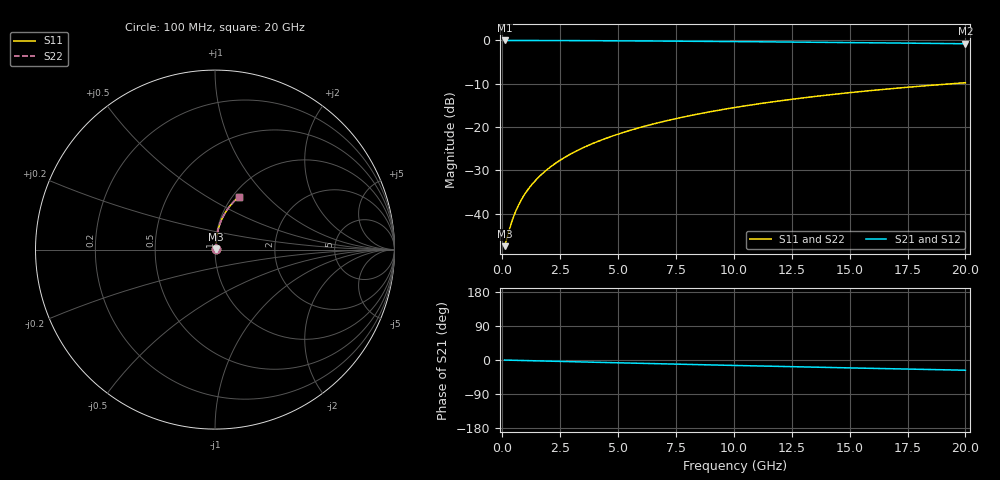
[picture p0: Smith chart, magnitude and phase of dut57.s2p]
! Touchstone file exported from HFSS 2024.1.0
!  File:  C:/UserFiles/LocalFiles/RDL_TSV_Batchsim/temp_RDL_bottom_57_1778693255.aedt
!  Generated:  01:30:07 AM May 14, 2026
!  Design:  RDL_bottom
!  Project:  temp_RDL_bottom_57_1778693255
!  Setup:  Setup1
!  Solution:  Sweep
! Variables:
!  dtsv = 10.80580581um
!  hbump = 3um
!  htsv = 54.13um
!  ldown = 319.23um
!  lrdl = 100um
!  p = 40
!  p1 = 45.65um
!  rhole = 1um
!  t = 450um
!  tdown = 2.16um
!  trdl = 3.915915916um
!  wdown = 14.56um
!  wrdl = 20um
# GHz S MA R 50.000000
! Terminal data exported
! Port[1] = RDL1_T1
! Port[2] = RDL1_T2
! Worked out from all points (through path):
!   200 points, 100 MHz to 20 GHz, reference 50 ohm
!   highest |S21| = -0.03 dB at 100 MHz (marker M1); lowest = -0.8 dB at 20 GHz (marker M2)
!   group delay of S21, straight-line fit = 3.74 ps
!   lowest |S11| = -47.5 dB at 100 MHz (marker M3), VSWR 1.01, Z = 50.4 + j0.174 ohm
!   |S11| at or under -10 dB: start of sweep to 19.44 GHz
!   |S22| runs from -47.5 to -9.8 dB; largest |S21 - S12| = 5.6e-15
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0.1  0.00423 24.1  0.9961 -0.2  0.9961 -0.2  0.00423 24.1
! Gamma 0 0 0 0
! Port Impedance 50 0 50 0
0.4  0.007946 59.4  0.9959 -0.6  0.9959 -0.6  0.007946 59.4
0.5  0.009457 64.1  0.9958 -0.8  0.9958 -0.8  0.009457 64.1
0.6  0.011 67.4  0.9957 -0.9  0.9957 -0.9  0.011 67.4
0.7  0.01256 69.9  0.9956 -1.1  0.9956 -1.1  0.01256 69.9
0.9  0.01572 73.4  0.9954 -1.4  0.9954 -1.4  0.01572 73.4
1.2  0.02049 76.6  0.995 -1.8  0.995 -1.8  0.02049 76.6
1.4  0.02369 77.9  0.9948 -2.1  0.9948 -2.1  0.02369 77.9
1.7  0.02851 79.4  0.9944 -2.6  0.9944 -2.6  0.02851 79.4
2.2  0.0366 80.9  0.9936 -3.3  0.9936 -3.3  0.0366 80.9
2.8  0.04638 81.8  0.9925 -4.2  0.9925 -4.2  0.04638 81.8
3.5  0.05789 82.2  0.991 -5.2  0.991 -5.2  0.05789 82.2
4.2  0.06948 82.3  0.9892 -6.3  0.9892 -6.3  0.06948 82.3
5  0.08283 82.1  0.9868 -7.4  0.9868 -7.4  0.08283 82.1
5.9  0.09796 81.6  0.9839 -8.7  0.9839 -8.7  0.09796 81.6
6.8  0.1132 80.9  0.9806 -10.0  0.9806 -10.0  0.1132 80.9
8.4  0.1403 79.5  0.9742 -12.2  0.9742 -12.2  0.1403 79.5
10.1  0.169 77.6  0.9666 -14.5  0.9666 -14.5  0.169 77.6
11.7  0.1957 75.7  0.9589 -16.6  0.9589 -16.6  0.1957 75.7
13.4  0.2235 73.7  0.9503 -18.8  0.9503 -18.8  0.2235 73.7
16.7  0.2755 69.6  0.9323 -23.0  0.9323 -23.0  0.2755 69.6
20  0.3242 65.5  0.913 -27.0  0.913 -27.0  0.3242 65.5
